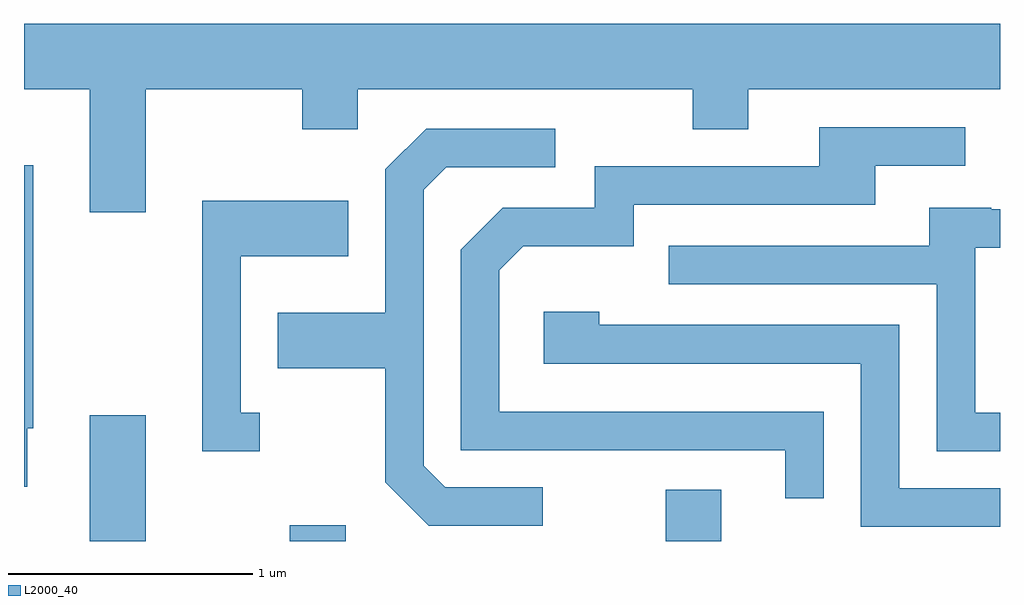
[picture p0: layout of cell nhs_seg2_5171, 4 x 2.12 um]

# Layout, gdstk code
import gdstk
lib = gdstk.Library(unit=1e-6, precision=1e-09)
def R(c, l, rs):  # rectangles x0, y0, x1, y1
    for r in rs: c.add(gdstk.rectangle(r[:2], r[2:], *l))
def P(c, l, *ps):  # polygons
    for p in ps: c.add(gdstk.Polygon(p, *l))
L2000_40 = (2000, 40)

nhs_seg2_5171 = lib.new_cell('nhs_seg2_5171')
R(nhs_seg2_5171, L2000_40, [(337.881,1039.802,338.109,1040.319), (338.701,1039.802,338.929,1039.869), (340.241,1039.802,340.469,1040.014)])
P(nhs_seg2_5171, L2000_40, [(338.109,1041.656),(338.751,1041.656),(338.751,1041.491),(338.979,1041.491),(338.979,1041.656),(340.351,1041.656),(340.351,1041.491),(340.579,1041.491),(340.579,1041.656),(341.611,1041.656),(341.611,1041.924),(337.611,1041.924),(337.611,1041.656),(337.881,1041.656),(337.881,1041.151),(338.109,1041.151)],
  [(340.889,1040.334),(339.559,1040.334),(339.559,1040.914),(339.657,1041.011),(340.109,1041.011),(340.109,1041.181),(341.099,1041.181),(341.099,1041.341),(341.468,1041.341),(341.468,1041.499),(340.871,1041.499),(340.871,1041.339),(339.951,1041.339),(339.951,1041.169),(339.574,1041.169),(339.401,1040.997),(339.401,1040.176),(340.731,1040.176),(340.731,1039.978),(340.889,1039.978)],
  [(339.738,1040.024),(339.337,1040.024),(339.249,1040.112),(339.249,1041.244),(339.342,1041.336),(339.788,1041.336),(339.788,1041.494),(339.259,1041.494),(339.091,1041.327),(339.091,1040.739),(338.651,1040.739),(338.651,1040.511),(339.091,1040.511),(339.091,1040.044),(339.269,1039.866),(339.738,1039.866)],
  [(337.624,1040.266),(337.649,1040.266),(337.649,1041.344),(337.611,1041.344),(337.611,1040.026),(337.624,1040.026)],
  [(338.578,1040.329),(338.499,1040.329),(338.499,1040.971),(338.939,1040.971),(338.939,1041.199),(338.341,1041.199),(338.341,1040.171),(338.578,1040.171)],
  [(341.611,1040.329),(341.509,1040.329),(341.509,1041.006),(341.611,1041.006),(341.611,1041.164),(341.575,1041.164),(341.575,1041.169),(341.321,1041.169),(341.321,1041.014),(340.253,1041.014),(340.253,1040.856),(341.351,1040.856),(341.351,1040.171),(341.611,1040.171)],
  [(341.611,1040.019),(341.199,1040.019),(341.199,1040.689),(339.969,1040.689),(339.969,1040.744),(339.741,1040.744),(339.741,1040.531),(341.041,1040.531),(341.041,1039.861),(341.611,1039.861)])

lib.write_gds('nhs_seg2_5171.gds')
